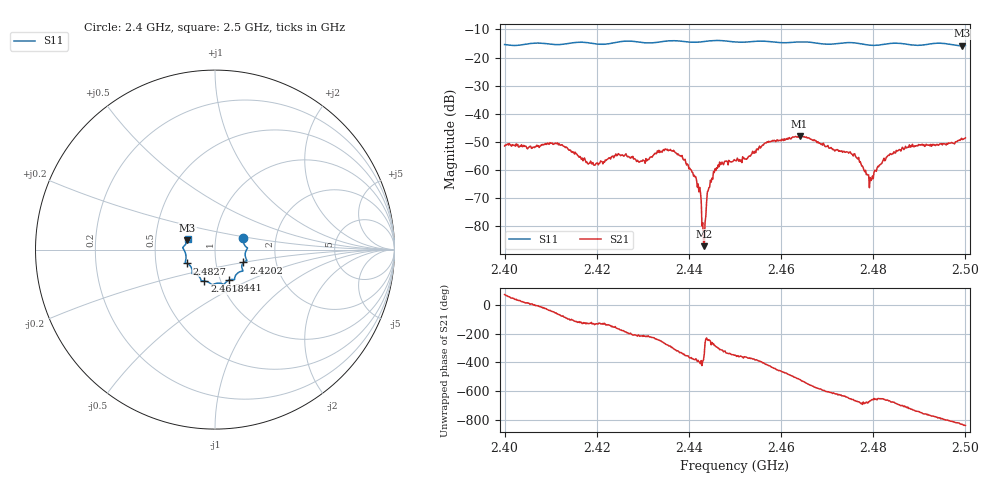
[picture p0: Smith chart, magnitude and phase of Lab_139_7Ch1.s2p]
# Hz S RI R 50
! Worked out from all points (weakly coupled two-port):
!   601 points, 2.4 GHz to 2.5 GHz, reference 50 ohm
!   highest |S21| = -48.01 dB at 2.464 GHz (marker M1); lowest = -87.0 dB at 2.4433 GHz (marker M2)
!   lowest |S11| = -15.8 dB at 2.4993 GHz (marker M3), VSWR 1.39, Z = 36.5 + j3.82 ohm
!   |S11| at or under -10 dB: start of sweep to end of sweep
!   S12 and S22 are empty: the file has one direction only
!   S11 on the Smith chart (normalised r, x): 2.4 GHz: 1.36, +0.18; 2.4202 GHz: 1.36, -0.20; 2.441 GHz: 1.10, -0.39; 2.4618 GHz: 0.84, -0.30; 2.4827 GHz: 0.72, -0.12; 2.5 GHz: 0.73, +0.09
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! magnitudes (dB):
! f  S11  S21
! 2.4 GHz  -15.4  -51.4
! 2.4113 GHz  -15.4  -50.4
! 2.4167 GHz  -14.6  -56.2
! 2.4202 GHz  -15.2  -57.4
! 2.43 GHz  -14.7  -56.4
! 2.4333 GHz  -14.5  -53.6
! 2.4372 GHz  -14.0  -53.9
! 2.441 GHz  -14.6  -62.1
! 2.442 GHz  -14.5  -64.9
! 2.4433 GHz  -14.3  -87.0
! 2.4445 GHz  -14.1  -66.0
! 2.4458 GHz  -13.9  -60.1
! 2.45 GHz  -14.5  -56.6
! 2.4618 GHz  -14.7  -48.4
! 2.464 GHz  -14.4  -48.0
! 2.4667 GHz  -14.6  -49.1
! 2.4755 GHz  -14.7  -54.4
! 2.4795 GHz  -15.6  -63.7
! 2.4827 GHz  -15.2  -56.4
! 2.4833 GHz  -15.0  -54.7
! 2.4993 GHz  -15.8  -49.1
! 2.5 GHz  -15.7  -48.5
